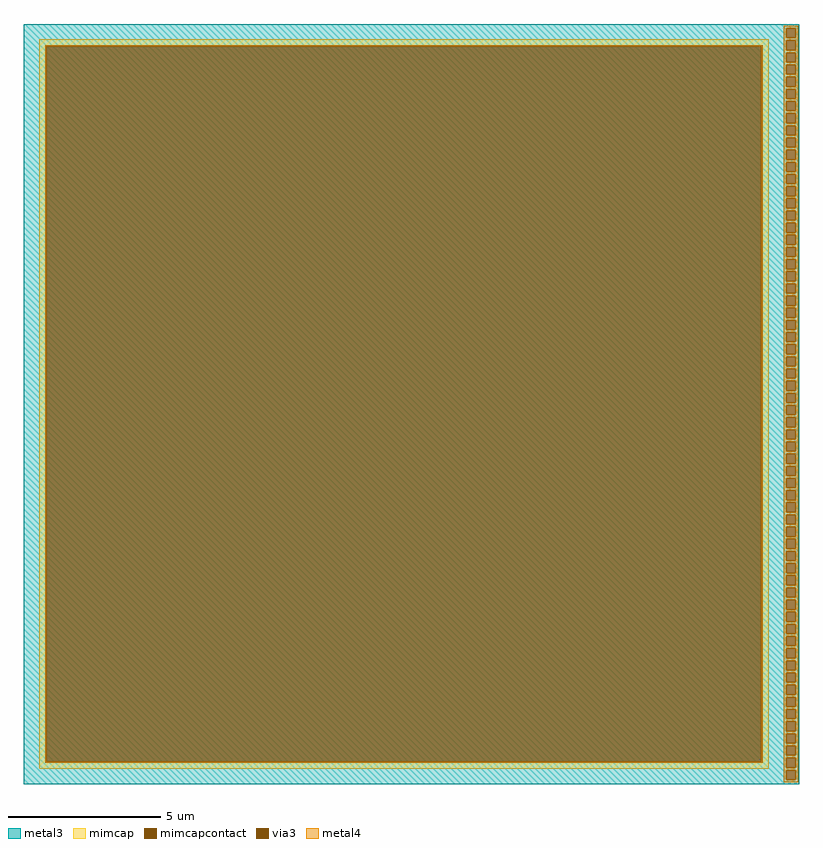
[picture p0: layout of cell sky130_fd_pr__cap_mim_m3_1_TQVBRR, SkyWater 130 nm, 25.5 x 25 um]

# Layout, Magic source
magic
tech sky130A
magscale 1 2
<< metal3 >>
rect -2550 2472 2549 2500
rect -2550 2408 2465 2472
rect 2529 2408 2549 2472
rect -2550 2392 2549 2408
rect -2550 2328 2465 2392
rect 2529 2328 2549 2392
rect -2550 2312 2549 2328
rect -2550 2248 2465 2312
rect 2529 2248 2549 2312
rect -2550 2232 2549 2248
rect -2550 2168 2465 2232
rect 2529 2168 2549 2232
rect -2550 2152 2549 2168
rect -2550 2088 2465 2152
rect 2529 2088 2549 2152
rect -2550 2072 2549 2088
rect -2550 2008 2465 2072
rect 2529 2008 2549 2072
rect -2550 1992 2549 2008
rect -2550 1928 2465 1992
rect 2529 1928 2549 1992
rect -2550 1912 2549 1928
rect -2550 1848 2465 1912
rect 2529 1848 2549 1912
rect -2550 1832 2549 1848
rect -2550 1768 2465 1832
rect 2529 1768 2549 1832
rect -2550 1752 2549 1768
rect -2550 1688 2465 1752
rect 2529 1688 2549 1752
rect -2550 1672 2549 1688
rect -2550 1608 2465 1672
rect 2529 1608 2549 1672
rect -2550 1592 2549 1608
rect -2550 1528 2465 1592
rect 2529 1528 2549 1592
rect -2550 1512 2549 1528
rect -2550 1448 2465 1512
rect 2529 1448 2549 1512
rect -2550 1432 2549 1448
rect -2550 1368 2465 1432
rect 2529 1368 2549 1432
rect -2550 1352 2549 1368
rect -2550 1288 2465 1352
rect 2529 1288 2549 1352
rect -2550 1272 2549 1288
rect -2550 1208 2465 1272
rect 2529 1208 2549 1272
rect -2550 1192 2549 1208
rect -2550 1128 2465 1192
rect 2529 1128 2549 1192
rect -2550 1112 2549 1128
rect -2550 1048 2465 1112
rect 2529 1048 2549 1112
rect -2550 1032 2549 1048
rect -2550 968 2465 1032
rect 2529 968 2549 1032
rect -2550 952 2549 968
rect -2550 888 2465 952
rect 2529 888 2549 952
rect -2550 872 2549 888
rect -2550 808 2465 872
rect 2529 808 2549 872
rect -2550 792 2549 808
rect -2550 728 2465 792
rect 2529 728 2549 792
rect -2550 712 2549 728
rect -2550 648 2465 712
rect 2529 648 2549 712
rect -2550 632 2549 648
rect -2550 568 2465 632
rect 2529 568 2549 632
rect -2550 552 2549 568
rect -2550 488 2465 552
rect 2529 488 2549 552
rect -2550 472 2549 488
rect -2550 408 2465 472
rect 2529 408 2549 472
rect -2550 392 2549 408
rect -2550 328 2465 392
rect 2529 328 2549 392
rect -2550 312 2549 328
rect -2550 248 2465 312
rect 2529 248 2549 312
rect -2550 232 2549 248
rect -2550 168 2465 232
rect 2529 168 2549 232
rect -2550 152 2549 168
rect -2550 88 2465 152
rect 2529 88 2549 152
rect -2550 72 2549 88
rect -2550 8 2465 72
rect 2529 8 2549 72
rect -2550 -8 2549 8
rect -2550 -72 2465 -8
rect 2529 -72 2549 -8
rect -2550 -88 2549 -72
rect -2550 -152 2465 -88
rect 2529 -152 2549 -88
rect -2550 -168 2549 -152
rect -2550 -232 2465 -168
rect 2529 -232 2549 -168
rect -2550 -248 2549 -232
rect -2550 -312 2465 -248
rect 2529 -312 2549 -248
rect -2550 -328 2549 -312
rect -2550 -392 2465 -328
rect 2529 -392 2549 -328
rect -2550 -408 2549 -392
rect -2550 -472 2465 -408
rect 2529 -472 2549 -408
rect -2550 -488 2549 -472
rect -2550 -552 2465 -488
rect 2529 -552 2549 -488
rect -2550 -568 2549 -552
rect -2550 -632 2465 -568
rect 2529 -632 2549 -568
rect -2550 -648 2549 -632
rect -2550 -712 2465 -648
rect 2529 -712 2549 -648
rect -2550 -728 2549 -712
rect -2550 -792 2465 -728
rect 2529 -792 2549 -728
rect -2550 -808 2549 -792
rect -2550 -872 2465 -808
rect 2529 -872 2549 -808
rect -2550 -888 2549 -872
rect -2550 -952 2465 -888
rect 2529 -952 2549 -888
rect -2550 -968 2549 -952
rect -2550 -1032 2465 -968
rect 2529 -1032 2549 -968
rect -2550 -1048 2549 -1032
rect -2550 -1112 2465 -1048
rect 2529 -1112 2549 -1048
rect -2550 -1128 2549 -1112
rect -2550 -1192 2465 -1128
rect 2529 -1192 2549 -1128
rect -2550 -1208 2549 -1192
rect -2550 -1272 2465 -1208
rect 2529 -1272 2549 -1208
rect -2550 -1288 2549 -1272
rect -2550 -1352 2465 -1288
rect 2529 -1352 2549 -1288
rect -2550 -1368 2549 -1352
rect -2550 -1432 2465 -1368
rect 2529 -1432 2549 -1368
rect -2550 -1448 2549 -1432
rect -2550 -1512 2465 -1448
rect 2529 -1512 2549 -1448
rect -2550 -1528 2549 -1512
rect -2550 -1592 2465 -1528
rect 2529 -1592 2549 -1528
rect -2550 -1608 2549 -1592
rect -2550 -1672 2465 -1608
rect 2529 -1672 2549 -1608
rect -2550 -1688 2549 -1672
rect -2550 -1752 2465 -1688
rect 2529 -1752 2549 -1688
rect -2550 -1768 2549 -1752
rect -2550 -1832 2465 -1768
rect 2529 -1832 2549 -1768
rect -2550 -1848 2549 -1832
rect -2550 -1912 2465 -1848
rect 2529 -1912 2549 -1848
rect -2550 -1928 2549 -1912
rect -2550 -1992 2465 -1928
rect 2529 -1992 2549 -1928
rect -2550 -2008 2549 -1992
rect -2550 -2072 2465 -2008
rect 2529 -2072 2549 -2008
rect -2550 -2088 2549 -2072
rect -2550 -2152 2465 -2088
rect 2529 -2152 2549 -2088
rect -2550 -2168 2549 -2152
rect -2550 -2232 2465 -2168
rect 2529 -2232 2549 -2168
rect -2550 -2248 2549 -2232
rect -2550 -2312 2465 -2248
rect 2529 -2312 2549 -2248
rect -2550 -2328 2549 -2312
rect -2550 -2392 2465 -2328
rect 2529 -2392 2549 -2328
rect -2550 -2408 2549 -2392
rect -2550 -2472 2465 -2408
rect 2529 -2472 2549 -2408
rect -2550 -2500 2549 -2472
<< via3 >>
rect 2465 2408 2529 2472
rect 2465 2328 2529 2392
rect 2465 2248 2529 2312
rect 2465 2168 2529 2232
rect 2465 2088 2529 2152
rect 2465 2008 2529 2072
rect 2465 1928 2529 1992
rect 2465 1848 2529 1912
rect 2465 1768 2529 1832
rect 2465 1688 2529 1752
rect 2465 1608 2529 1672
rect 2465 1528 2529 1592
rect 2465 1448 2529 1512
rect 2465 1368 2529 1432
rect 2465 1288 2529 1352
rect 2465 1208 2529 1272
rect 2465 1128 2529 1192
rect 2465 1048 2529 1112
rect 2465 968 2529 1032
rect 2465 888 2529 952
rect 2465 808 2529 872
rect 2465 728 2529 792
rect 2465 648 2529 712
rect 2465 568 2529 632
rect 2465 488 2529 552
rect 2465 408 2529 472
rect 2465 328 2529 392
rect 2465 248 2529 312
rect 2465 168 2529 232
rect 2465 88 2529 152
rect 2465 8 2529 72
rect 2465 -72 2529 -8
rect 2465 -152 2529 -88
rect 2465 -232 2529 -168
rect 2465 -312 2529 -248
rect 2465 -392 2529 -328
rect 2465 -472 2529 -408
rect 2465 -552 2529 -488
rect 2465 -632 2529 -568
rect 2465 -712 2529 -648
rect 2465 -792 2529 -728
rect 2465 -872 2529 -808
rect 2465 -952 2529 -888
rect 2465 -1032 2529 -968
rect 2465 -1112 2529 -1048
rect 2465 -1192 2529 -1128
rect 2465 -1272 2529 -1208
rect 2465 -1352 2529 -1288
rect 2465 -1432 2529 -1368
rect 2465 -1512 2529 -1448
rect 2465 -1592 2529 -1528
rect 2465 -1672 2529 -1608
rect 2465 -1752 2529 -1688
rect 2465 -1832 2529 -1768
rect 2465 -1912 2529 -1848
rect 2465 -1992 2529 -1928
rect 2465 -2072 2529 -2008
rect 2465 -2152 2529 -2088
rect 2465 -2232 2529 -2168
rect 2465 -2312 2529 -2248
rect 2465 -2392 2529 -2328
rect 2465 -2472 2529 -2408
<< mimcap >>
rect -2450 2352 2350 2400
rect -2450 -2352 -2402 2352
rect 2302 -2352 2350 2352
rect -2450 -2400 2350 -2352
<< mimcapcontact >>
rect -2402 -2352 2302 2352
<< metal4 >>
rect 2449 2472 2545 2488
rect 2449 2408 2465 2472
rect 2529 2408 2545 2472
rect 2449 2392 2545 2408
rect -2411 2352 2311 2361
rect -2411 -2352 -2402 2352
rect 2302 -2352 2311 2352
rect -2411 -2361 2311 -2352
rect 2449 2328 2465 2392
rect 2529 2328 2545 2392
rect 2449 2312 2545 2328
rect 2449 2248 2465 2312
rect 2529 2248 2545 2312
rect 2449 2232 2545 2248
rect 2449 2168 2465 2232
rect 2529 2168 2545 2232
rect 2449 2152 2545 2168
rect 2449 2088 2465 2152
rect 2529 2088 2545 2152
rect 2449 2072 2545 2088
rect 2449 2008 2465 2072
rect 2529 2008 2545 2072
rect 2449 1992 2545 2008
rect 2449 1928 2465 1992
rect 2529 1928 2545 1992
rect 2449 1912 2545 1928
rect 2449 1848 2465 1912
rect 2529 1848 2545 1912
rect 2449 1832 2545 1848
rect 2449 1768 2465 1832
rect 2529 1768 2545 1832
rect 2449 1752 2545 1768
rect 2449 1688 2465 1752
rect 2529 1688 2545 1752
rect 2449 1672 2545 1688
rect 2449 1608 2465 1672
rect 2529 1608 2545 1672
rect 2449 1592 2545 1608
rect 2449 1528 2465 1592
rect 2529 1528 2545 1592
rect 2449 1512 2545 1528
rect 2449 1448 2465 1512
rect 2529 1448 2545 1512
rect 2449 1432 2545 1448
rect 2449 1368 2465 1432
rect 2529 1368 2545 1432
rect 2449 1352 2545 1368
rect 2449 1288 2465 1352
rect 2529 1288 2545 1352
rect 2449 1272 2545 1288
rect 2449 1208 2465 1272
rect 2529 1208 2545 1272
rect 2449 1192 2545 1208
rect 2449 1128 2465 1192
rect 2529 1128 2545 1192
rect 2449 1112 2545 1128
rect 2449 1048 2465 1112
rect 2529 1048 2545 1112
rect 2449 1032 2545 1048
rect 2449 968 2465 1032
rect 2529 968 2545 1032
rect 2449 952 2545 968
rect 2449 888 2465 952
rect 2529 888 2545 952
rect 2449 872 2545 888
rect 2449 808 2465 872
rect 2529 808 2545 872
rect 2449 792 2545 808
rect 2449 728 2465 792
rect 2529 728 2545 792
rect 2449 712 2545 728
rect 2449 648 2465 712
rect 2529 648 2545 712
rect 2449 632 2545 648
rect 2449 568 2465 632
rect 2529 568 2545 632
rect 2449 552 2545 568
rect 2449 488 2465 552
rect 2529 488 2545 552
rect 2449 472 2545 488
rect 2449 408 2465 472
rect 2529 408 2545 472
rect 2449 392 2545 408
rect 2449 328 2465 392
rect 2529 328 2545 392
rect 2449 312 2545 328
rect 2449 248 2465 312
rect 2529 248 2545 312
rect 2449 232 2545 248
rect 2449 168 2465 232
rect 2529 168 2545 232
rect 2449 152 2545 168
rect 2449 88 2465 152
rect 2529 88 2545 152
rect 2449 72 2545 88
rect 2449 8 2465 72
rect 2529 8 2545 72
rect 2449 -8 2545 8
rect 2449 -72 2465 -8
rect 2529 -72 2545 -8
rect 2449 -88 2545 -72
rect 2449 -152 2465 -88
rect 2529 -152 2545 -88
rect 2449 -168 2545 -152
rect 2449 -232 2465 -168
rect 2529 -232 2545 -168
rect 2449 -248 2545 -232
rect 2449 -312 2465 -248
rect 2529 -312 2545 -248
rect 2449 -328 2545 -312
rect 2449 -392 2465 -328
rect 2529 -392 2545 -328
rect 2449 -408 2545 -392
rect 2449 -472 2465 -408
rect 2529 -472 2545 -408
rect 2449 -488 2545 -472
rect 2449 -552 2465 -488
rect 2529 -552 2545 -488
rect 2449 -568 2545 -552
rect 2449 -632 2465 -568
rect 2529 -632 2545 -568
rect 2449 -648 2545 -632
rect 2449 -712 2465 -648
rect 2529 -712 2545 -648
rect 2449 -728 2545 -712
rect 2449 -792 2465 -728
rect 2529 -792 2545 -728
rect 2449 -808 2545 -792
rect 2449 -872 2465 -808
rect 2529 -872 2545 -808
rect 2449 -888 2545 -872
rect 2449 -952 2465 -888
rect 2529 -952 2545 -888
rect 2449 -968 2545 -952
rect 2449 -1032 2465 -968
rect 2529 -1032 2545 -968
rect 2449 -1048 2545 -1032
rect 2449 -1112 2465 -1048
rect 2529 -1112 2545 -1048
rect 2449 -1128 2545 -1112
rect 2449 -1192 2465 -1128
rect 2529 -1192 2545 -1128
rect 2449 -1208 2545 -1192
rect 2449 -1272 2465 -1208
rect 2529 -1272 2545 -1208
rect 2449 -1288 2545 -1272
rect 2449 -1352 2465 -1288
rect 2529 -1352 2545 -1288
rect 2449 -1368 2545 -1352
rect 2449 -1432 2465 -1368
rect 2529 -1432 2545 -1368
rect 2449 -1448 2545 -1432
rect 2449 -1512 2465 -1448
rect 2529 -1512 2545 -1448
rect 2449 -1528 2545 -1512
rect 2449 -1592 2465 -1528
rect 2529 -1592 2545 -1528
rect 2449 -1608 2545 -1592
rect 2449 -1672 2465 -1608
rect 2529 -1672 2545 -1608
rect 2449 -1688 2545 -1672
rect 2449 -1752 2465 -1688
rect 2529 -1752 2545 -1688
rect 2449 -1768 2545 -1752
rect 2449 -1832 2465 -1768
rect 2529 -1832 2545 -1768
rect 2449 -1848 2545 -1832
rect 2449 -1912 2465 -1848
rect 2529 -1912 2545 -1848
rect 2449 -1928 2545 -1912
rect 2449 -1992 2465 -1928
rect 2529 -1992 2545 -1928
rect 2449 -2008 2545 -1992
rect 2449 -2072 2465 -2008
rect 2529 -2072 2545 -2008
rect 2449 -2088 2545 -2072
rect 2449 -2152 2465 -2088
rect 2529 -2152 2545 -2088
rect 2449 -2168 2545 -2152
rect 2449 -2232 2465 -2168
rect 2529 -2232 2545 -2168
rect 2449 -2248 2545 -2232
rect 2449 -2312 2465 -2248
rect 2529 -2312 2545 -2248
rect 2449 -2328 2545 -2312
rect 2449 -2392 2465 -2328
rect 2529 -2392 2545 -2328
rect 2449 -2408 2545 -2392
rect 2449 -2472 2465 -2408
rect 2529 -2472 2545 -2408
rect 2449 -2488 2545 -2472
<< properties >>
string FIXED_BBOX -2550 -2500 2450 2500
<< end >>
